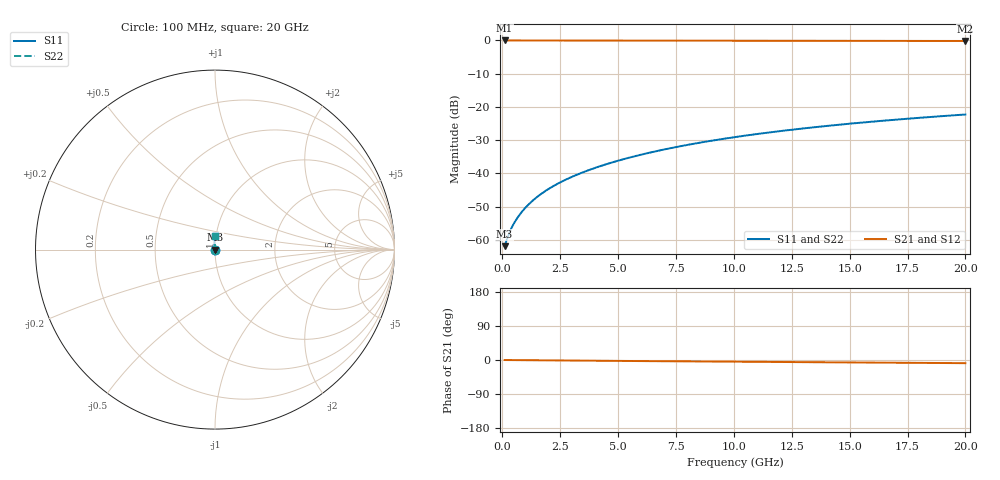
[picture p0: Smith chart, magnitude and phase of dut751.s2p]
! Touchstone file exported from HFSS 2024.1.0
!  File:  C:/UserFiles/LocalFiles/RDL_TSV_Batchsim/temp_RDL_top_751_1779851811.aedt
!  Generated:  11:19:16 AM May 27, 2026
!  Design:  RDL_top
!  Project:  temp_RDL_top_751_1779851811
!  Setup:  Setup1
!  Solution:  Sweep
! Variables:
!  dtsv = 10.80580581um
!  hbump = 3um
!  htsv = 86.68um
!  ldown = 100um
!  lrdl = 109.48um
!  p = 40
!  p1 = 43.88um
!  rhole = 1um
!  t = 450um
!  tdown = 3.915915916um
!  trdl = 3.16um
!  wdown = 15.38538539um
!  wrdl = 28.51um
# GHz S MA R 50.000000
! Terminal data exported
! Port[1] = Box2_T1
! Port[2] = Box2_T2
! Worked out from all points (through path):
!   200 points, 100 MHz to 20 GHz, reference 50 ohm
!   highest |S21| = -0.01 dB at 100 MHz (marker M1); lowest = -0.2 dB at 20 GHz (marker M2)
!   group delay of S21, straight-line fit = 1.14 ps
!   lowest |S11| = -61.9 dB at 100 MHz (marker M3), VSWR 1.00, Z = 50.1 + j0.035 ohm
!   |S11| at or under -10 dB: start of sweep to end of sweep
!   |S22| runs from -61.9 to -22.3 dB; largest |S21 - S12| = 3e-15
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0.1  0.0008048 25.8  0.9993 -0.1  0.9993 -0.1  0.0008048 25.8
! Gamma 0 0 0 0
! Port Impedance 50 0 50 0
0.3  0.001267 50.7  0.9992 -0.2  0.9992 -0.2  0.001267 50.7
0.4  0.001516 56.6  0.9991 -0.2  0.9991 -0.2  0.001516 56.6
0.5  0.001764 61.1  0.9991 -0.3  0.9991 -0.3  0.001764 61.1
0.6  0.002014 64.7  0.999 -0.3  0.999 -0.3  0.002014 64.7
0.8  0.002525 70.1  0.999 -0.4  0.999 -0.4  0.002525 70.1
1  0.00305 74.1  0.9989 -0.5  0.9989 -0.5  0.00305 74.1
1.2  0.003588 77.1  0.9988 -0.6  0.9988 -0.6  0.003588 77.1
1.7  0.004981 82.3  0.9985 -0.8  0.9985 -0.8  0.004981 82.3
2.2  0.00643 85.7  0.9982 -1.1  0.9982 -1.1  0.00643 85.7
2.8  0.008239 88.5  0.9978 -1.4  0.9978 -1.4  0.008239 88.5
3.5  0.01045 90.8  0.9971 -1.7  0.9971 -1.7  0.01045 90.8
4.2  0.01276 92.4  0.9964 -2.0  0.9964 -2.0  0.01276 92.4
5  0.01553 93.7  0.9955 -2.4  0.9955 -2.4  0.01553 93.7
5.9  0.01879 94.6  0.9944 -2.8  0.9944 -2.8  0.01879 94.6
6.8  0.02218 95.1  0.9934 -3.2  0.9934 -3.2  0.02218 95.1
8.4  0.02846 95.2  0.9914 -3.8  0.9914 -3.8  0.02846 95.2
10.1  0.03539 94.8  0.9895 -4.5  0.9895 -4.5  0.03539 94.8
11.7  0.04204 94.0  0.9879 -5.2  0.9879 -5.2  0.04204 94.0
13.4  0.04918 93.1  0.9862 -5.8  0.9862 -5.8  0.04918 93.1
16.7  0.06308 91.0  0.9834 -7.1  0.9834 -7.1  0.06308 91.0
20  0.07692 89.0  0.981 -8.3  0.981 -8.3  0.07692 89.0
